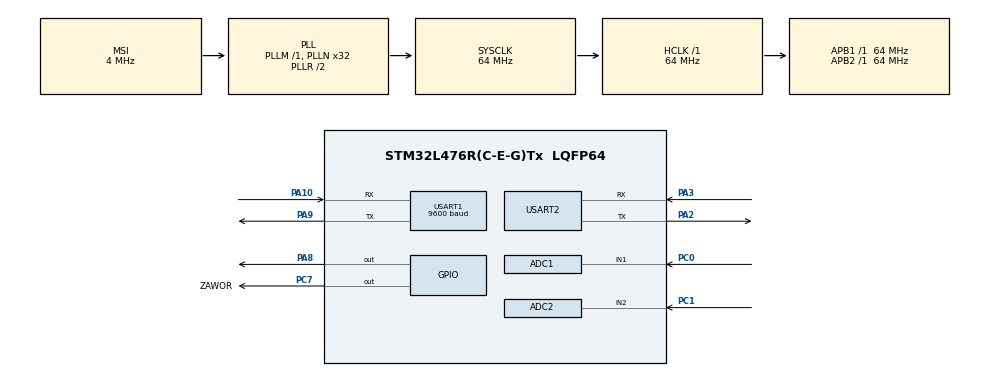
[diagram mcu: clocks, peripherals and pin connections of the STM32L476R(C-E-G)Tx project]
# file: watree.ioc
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ADC1.Channel-0\#ChannelRegularConversion=ADC_CHANNEL_1
ADC1.NbrOfConversionFlag=1
ADC1.OffsetNumber-0\#ChannelRegularConversion=ADC_OFFSET_NONE
ADC1.Rank-0\#ChannelRegularConversion=1
ADC1.SamplingTime-0\#ChannelRegularConversion=ADC_SAMPLETIME_2CYCLES_5
ADC1.master=1
ADC2.Channel-0\#ChannelRegularConversion=ADC_CHANNEL_2
ADC2.NbrOfConversionFlag=1
ADC2.OffsetNumber-0\#ChannelRegularConversion=ADC_OFFSET_NONE
ADC2.Rank-0\#ChannelRegularConversion=1
ADC2.SamplingTime-0\#ChannelRegularConversion=ADC_SAMPLETIME_2CYCLES_5
Mcu.Family=STM32L4
Mcu.Name=STM32L476R(C-E-G)Tx
Mcu.Package=LQFP64
NVIC.PriorityGroup=NVIC_PRIORITYGROUP_4
PA10.Mode=Asynchronous
PA10.Signal=USART1_RX
PA2.Mode=Asynchronous
PA2.Signal=USART2_TX
PA3.Mode=Asynchronous
PA3.Signal=USART2_RX
PA8.GPIO_PuPd=GPIO_PULLUP
PA8.Signal=GPIO_Output
PA9.Mode=Asynchronous
PA9.Signal=USART1_TX
PC0.Signal=ADCx_IN1
PC1.Signal=ADCx_IN2
PC7.GPIO_Label=ZAWOR
PC7.PinState=GPIO_PIN_SET
PC7.Signal=GPIO_Output
ProjectManager.HeapSize=0x200
ProjectManager.StackSize=0x400
ProjectManager.TargetToolchain=STM32CubeIDE
RCC.ADCFreq_Value=32000000
RCC.AHBFreq_Value=64000000
RCC.APB1Freq_Value=64000000
RCC.APB1TimFreq_Value=64000000
RCC.APB2Freq_Value=64000000
RCC.APB2TimFreq_Value=64000000
RCC.CortexFreq_Value=64000000
RCC.HCLKFreq_Value=64000000
RCC.HSE_VALUE=8000000
RCC.HSI_VALUE=16000000
RCC.LSE_VALUE=32768
RCC.MSI_VALUE=4000000
RCC.PLLN=32
RCC.PLLSAI1N=16
RCC.SYSCLKFreq_VALUE=64000000
RCC.SYSCLKSource=RCC_SYSCLKSOURCE_PLLCLK
RCC.USBFreq_Value=32000000
RCC.VCOOutputFreq_Value=128000000
SH.ADCx_IN1.0=ADC1_IN1,IN1-Single-Ended
SH.ADCx_IN1.1=ADC2_IN1
SH.ADCx_IN2.0=ADC1_IN2
SH.ADCx_IN2.1=ADC2_IN2,IN2-Single-Ended
USART1.BaudRate=9600
USART1.VirtualMode-Asynchronous=VM_ASYNC
USART2.VirtualMode-Asynchronous=VM_ASYNC
board=custom

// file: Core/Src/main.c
/* USER CODE BEGIN Header */
/**
  ******************************************************************************
  * @file           : main.c
  * @brief          : Main program body
  ******************************************************************************
  * @attention
  *
  * Copyright (c) 2022 STMicroelectronics.
  * All rights reserved.
  *
  * This software is licensed under terms that can be found in the LICENSE file
  * in the root directory of this software component.
  * If no LICENSE file comes with this software, it is provided AS-IS.
  *
  ******************************************************************************
  */
/* USER CODE END Header */
#include "main.h"

/* USER CODE BEGIN PD */
#define DHT_PORT GPIOA
#define DHT_PIN GPIO_PIN_8
/* USER CODE END PD */

 ADC_HandleTypeDef hadc1;
ADC_HandleTypeDef hadc2;

UART_HandleTypeDef huart1;
UART_HandleTypeDef huart2;

void SystemClock_Config(void);
void PeriphCommonClock_Config(void);
static void MX_GPIO_Init(void);
static void MX_USART2_UART_Init(void);
static void MX_ADC1_Init(void);
static void MX_ADC2_Init(void);
static void MX_USART1_UART_Init(void);

/* USER CODE BEGIN 0 */

int __io_putchar(int ch)
{
    if (ch == '\n') {
        uint8_t ch2 = '\r';
        HAL_UART_Transmit(&huart2, &ch2, 1, HAL_MAX_DELAY);
    }

    HAL_UART_Transmit(&huart2, (uint8_t*)&ch, 1, HAL_MAX_DELAY);
    return 1;
}

void switchValve() {
	HAL_GPIO_TogglePin(ZAWOR_GPIO_Port, ZAWOR_Pin);
}

float TempC, Humidity, Level, HumidityS;
char uartData[50];
char toSendData[50];
/* USER CODE END 0 */

int main(void)
{

  /* MCU Configuration--------------------------------------------------------*/

  /* Reset of all peripherals, Initializes the Flash interface and the Systick. */
  HAL_Init();

  /* Configure the system clock */
  SystemClock_Config();

/* Configure the peripherals common clocks */
  PeriphCommonClock_Config();

  /* Initialize all configured peripherals */
  MX_GPIO_Init();
  MX_USART2_UART_Init();
  MX_ADC1_Init();
  MX_ADC2_Init();
  MX_USART1_UART_Init();
  /* USER CODE BEGIN 2 */
  const char message[] = "STM32 init!\r\n";
  HAL_UART_Transmit(&huart2, (uint8_t*)message, strlen(message), HAL_MAX_DELAY);
  HAL_GPIO_WritePin(ZAWOR_GPIO_Port, ZAWOR_Pin, GPIO_PIN_RESET);

  DHT22_Init(GPIOA, GPIO_PIN_8);
  /* USER CODE END 2 */

  /* Infinite loop */
  /* USER CODE BEGIN WHILE */
  while (1)
  {
	  // Soil humidity
	  		HAL_ADC_Start(&hadc1);
	  		HAL_ADC_PollForConversion(&hadc1, HAL_MAX_DELAY);
	  		uint32_t valuehum = HAL_ADC_GetValue(&hadc1);
	  		HumidityS = valuehum / 25.0f;
	  		sprintf(uartData, "HUMS=%.2f\r\n", HumidityS);
	  		if(HumidityS<20){
	  			switchValve();
	  			HAL_Delay(5000);
	  		}

	  		//Water level
	  		HAL_ADC_Start(&hadc2);
	  		HAL_ADC_PollForConversion(&hadc2, HAL_MAX_DELAY);
	  		uint32_t valuelev = HAL_ADC_GetValue(&hadc2);
	  		Level = valuelev / 25.0f;
	  		sprintf(uartData, "LEV=%.2f\r\n", Level);
		if(DHT22_GetTemp_Humidity(&TempC, &Humidity) == 1)
		{
			sprintf(uartData, "TEMP=%.1f\r\n", TempC);
			sprintf(uartData, "HUMA=%.1f\r\n", Humidity);
		}
		else
		{
			sprintf(uartData, "\r\nCRC Error!\r\n");
		}
		sprintf(toSendData,"%05.2f,%05.2f,%05.2f,%05.2f\r\n", TempC, Humidity, HumidityS, Level);
		HAL_UART_Transmit(&huart1, (uint8_t *)toSendData, strlen(toSendData), HAL_MAX_DELAY);
		HAL_UART_Transmit(&huart2, (uint8_t *)toSendData, strlen(toSendData), HAL_MAX_DELAY);
		HAL_Delay(500);

    /* USER CODE END WHILE */

  }
}

void SystemClock_Config(void)
{
  RCC_OscInitTypeDef RCC_OscInitStruct = {0};
  RCC_ClkInitTypeDef RCC_ClkInitStruct = {0};

  /** Configure the main internal regulator output voltage
  */
  if (HAL_PWREx_ControlVoltageScaling(PWR_REGULATOR_VOLTAGE_SCALE1) != HAL_OK)
  {
    Error_Handler();
  }

  /** Initializes the RCC Oscillators according to the specified parameters
  * in the RCC_OscInitTypeDef structure.
  */
  RCC_OscInitStruct.OscillatorType = RCC_OSCILLATORTYPE_MSI;
  RCC_OscInitStruct.MSIState = RCC_MSI_ON;
  RCC_OscInitStruct.MSICalibrationValue = 0;
  RCC_OscInitStruct.MSIClockRange = RCC_MSIRANGE_6;
  RCC_OscInitStruct.PLL.PLLState = RCC_PLL_ON;
  RCC_OscInitStruct.PLL.PLLSource = RCC_PLLSOURCE_MSI;
  RCC_OscInitStruct.PLL.PLLM = 1;
  RCC_OscInitStruct.PLL.PLLN = 32;
  RCC_OscInitStruct.PLL.PLLP = RCC_PLLP_DIV7;
  RCC_OscInitStruct.PLL.PLLQ = RCC_PLLQ_DIV2;
  RCC_OscInitStruct.PLL.PLLR = RCC_PLLR_DIV2;
  if (HAL_RCC_OscConfig(&RCC_OscInitStruct) != HAL_OK)
  {
    Error_Handler();
  }

  /** Initializes the CPU, AHB and APB buses clocks
  */
  RCC_ClkInitStruct.ClockType = RCC_CLOCKTYPE_HCLK|RCC_CLOCKTYPE_SYSCLK
                              |RCC_CLOCKTYPE_PCLK1|RCC_CLOCKTYPE_PCLK2;
  RCC_ClkInitStruct.SYSCLKSource = RCC_SYSCLKSOURCE_PLLCLK;
  RCC_ClkInitStruct.AHBCLKDivider = RCC_SYSCLK_DIV1;
  RCC_ClkInitStruct.APB1CLKDivider = RCC_HCLK_DIV1;
  RCC_ClkInitStruct.APB2CLKDivider = RCC_HCLK_DIV1;

  if (HAL_RCC_ClockConfig(&RCC_ClkInitStruct, FLASH_LATENCY_3) != HAL_OK)
  {
    Error_Handler();
  }
}

void PeriphCommonClock_Config(void)
{
  RCC_PeriphCLKInitTypeDef PeriphClkInit = {0};

  /** Initializes the peripherals clock
  */
  PeriphClkInit.PeriphClockSelection = RCC_PERIPHCLK_ADC;
  PeriphClkInit.AdcClockSelection = RCC_ADCCLKSOURCE_PLLSAI1;
  PeriphClkInit.PLLSAI1.PLLSAI1Source = RCC_PLLSOURCE_MSI;
  PeriphClkInit.PLLSAI1.PLLSAI1M = 1;
  PeriphClkInit.PLLSAI1.PLLSAI1N = 16;
  PeriphClkInit.PLLSAI1.PLLSAI1P = RCC_PLLP_DIV7;
  PeriphClkInit.PLLSAI1.PLLSAI1Q = RCC_PLLQ_DIV2;
  PeriphClkInit.PLLSAI1.PLLSAI1R = RCC_PLLR_DIV2;
  PeriphClkInit.PLLSAI1.PLLSAI1ClockOut = RCC_PLLSAI1_ADC1CLK;
  if (HAL_RCCEx_PeriphCLKConfig(&PeriphClkInit) != HAL_OK)
  {
    Error_Handler();
  }
}

static void MX_ADC1_Init(void)
{

  ADC_MultiModeTypeDef multimode = {0};
  ADC_ChannelConfTypeDef sConfig = {0};

  /** Common config
  */
  hadc1.Instance = ADC1;
  hadc1.Init.ClockPrescaler = ADC_CLOCK_ASYNC_DIV1;
  hadc1.Init.Resolution = ADC_RESOLUTION_12B;
  hadc1.Init.DataAlign = ADC_DATAALIGN_RIGHT;
  hadc1.Init.ScanConvMode = ADC_SCAN_DISABLE;
  hadc1.Init.EOCSelection = ADC_EOC_SINGLE_CONV;
  hadc1.Init.LowPowerAutoWait = DISABLE;
  hadc1.Init.ContinuousConvMode = DISABLE;
  hadc1.Init.NbrOfConversion = 1;
  hadc1.Init.DiscontinuousConvMode = DISABLE;
  hadc1.Init.ExternalTrigConv = ADC_SOFTWARE_START;
  hadc1.Init.ExternalTrigConvEdge = ADC_EXTERNALTRIGCONVEDGE_NONE;
  hadc1.Init.DMAContinuousRequests = DISABLE;
  hadc1.Init.Overrun = ADC_OVR_DATA_PRESERVED;
  hadc1.Init.OversamplingMode = DISABLE;
  if (HAL_ADC_Init(&hadc1) != HAL_OK)
  {
    Error_Handler();
  }

  /** Configure the ADC multi-mode
  */
  multimode.Mode = ADC_MODE_INDEPENDENT;
  if (HAL_ADCEx_MultiModeConfigChannel(&hadc1, &multimode) != HAL_OK)
  {
    Error_Handler();
  }

  /** Configure Regular Channel
  */
  sConfig.Channel = ADC_CHANNEL_1;
  sConfig.Rank = ADC_REGULAR_RANK_1;
  sConfig.SamplingTime = ADC_SAMPLETIME_2CYCLES_5;
  sConfig.SingleDiff = ADC_SINGLE_ENDED;
  sConfig.OffsetNumber = ADC_OFFSET_NONE;
  sConfig.Offset = 0;
  if (HAL_ADC_ConfigChannel(&hadc1, &sConfig) != HAL_OK)
  {
    Error_Handler();
  }

}

static void MX_ADC2_Init(void)
{

  ADC_ChannelConfTypeDef sConfig = {0};

  /** Common config
  */
  hadc2.Instance = ADC2;
  hadc2.Init.ClockPrescaler = ADC_CLOCK_ASYNC_DIV1;
  hadc2.Init.Resolution = ADC_RESOLUTION_12B;
  hadc2.Init.DataAlign = ADC_DATAALIGN_RIGHT;
  hadc2.Init.ScanConvMode = ADC_SCAN_DISABLE;
  hadc2.Init.EOCSelection = ADC_EOC_SINGLE_CONV;
  hadc2.Init.LowPowerAutoWait = DISABLE;
  hadc2.Init.ContinuousConvMode = DISABLE;
  hadc2.Init.NbrOfConversion = 1;
  hadc2.Init.DiscontinuousConvMode = DISABLE;
  hadc2.Init.ExternalTrigConv = ADC_SOFTWARE_START;
  hadc2.Init.ExternalTrigConvEdge = ADC_EXTERNALTRIGCONVEDGE_NONE;
  hadc2.Init.DMAContinuousRequests = DISABLE;
  hadc2.Init.Overrun = ADC_OVR_DATA_PRESERVED;
  hadc2.Init.OversamplingMode = DISABLE;
  if (HAL_ADC_Init(&hadc2) != HAL_OK)
  {
    Error_Handler();
  }

  /** Configure Regular Channel
  */
  sConfig.Channel = ADC_CHANNEL_2;
  sConfig.Rank = ADC_REGULAR_RANK_1;
  sConfig.SamplingTime = ADC_SAMPLETIME_2CYCLES_5;
  sConfig.SingleDiff = ADC_SINGLE_ENDED;
  sConfig.OffsetNumber = ADC_OFFSET_NONE;
  sConfig.Offset = 0;
  if (HAL_ADC_ConfigChannel(&hadc2, &sConfig) != HAL_OK)
  {
    Error_Handler();
  }

}

static void MX_USART1_UART_Init(void)
{

  huart1.Instance = USART1;
  huart1.Init.BaudRate = 9600;
  huart1.Init.WordLength = UART_WORDLENGTH_8B;
  huart1.Init.StopBits = UART_STOPBITS_1;
  huart1.Init.Parity = UART_PARITY_NONE;
  huart1.Init.Mode = UART_MODE_TX_RX;
  huart1.Init.HwFlowCtl = UART_HWCONTROL_NONE;
  huart1.Init.OverSampling = UART_OVERSAMPLING_16;
  huart1.Init.OneBitSampling = UART_ONE_BIT_SAMPLE_DISABLE;
  huart1.AdvancedInit.AdvFeatureInit = UART_ADVFEATURE_NO_INIT;
  if (HAL_UART_Init(&huart1) != HAL_OK)
  {
    Error_Handler();
  }

}

static void MX_USART2_UART_Init(void)
{

  huart2.Instance = USART2;
  huart2.Init.BaudRate = 115200;
  huart2.Init.WordLength = UART_WORDLENGTH_8B;
  huart2.Init.StopBits = UART_STOPBITS_1;
  huart2.Init.Parity = UART_PARITY_NONE;
  huart2.Init.Mode = UART_MODE_TX_RX;
  huart2.Init.HwFlowCtl = UART_HWCONTROL_NONE;
  huart2.Init.OverSampling = UART_OVERSAMPLING_16;
  huart2.Init.OneBitSampling = UART_ONE_BIT_SAMPLE_DISABLE;
  huart2.AdvancedInit.AdvFeatureInit = UART_ADVFEATURE_NO_INIT;
  if (HAL_UART_Init(&huart2) != HAL_OK)
  {
    Error_Handler();
  }

}

static void MX_GPIO_Init(void)
{
  GPIO_InitTypeDef GPIO_InitStruct = {0};

  /* GPIO Ports Clock Enable */
  __HAL_RCC_GPIOC_CLK_ENABLE();
  __HAL_RCC_GPIOA_CLK_ENABLE();

  /*Configure GPIO pin Output Level */
  HAL_GPIO_WritePin(ZAWOR_GPIO_Port, ZAWOR_Pin, GPIO_PIN_SET);

  /*Configure GPIO pin Output Level */
  HAL_GPIO_WritePin(GPIOA, GPIO_PIN_8, GPIO_PIN_RESET);

  /*Configure GPIO pin : ZAWOR_Pin */
  GPIO_InitStruct.Pin = ZAWOR_Pin;
  GPIO_InitStruct.Mode = GPIO_MODE_OUTPUT_PP;
  GPIO_InitStruct.Pull = GPIO_NOPULL;
  GPIO_InitStruct.Speed = GPIO_SPEED_FREQ_LOW;
  HAL_GPIO_Init(ZAWOR_GPIO_Port, &GPIO_InitStruct);

  /*Configure GPIO pin : PA8 */
  GPIO_InitStruct.Pin = GPIO_PIN_8;
  GPIO_InitStruct.Mode = GPIO_MODE_OUTPUT_PP;
  GPIO_InitStruct.Pull = GPIO_PULLUP;
  GPIO_InitStruct.Speed = GPIO_SPEED_FREQ_LOW;
  HAL_GPIO_Init(GPIOA, &GPIO_InitStruct);

}

void Error_Handler(void)
{
  __disable_irq();
  while (1)
  {
  }
}
